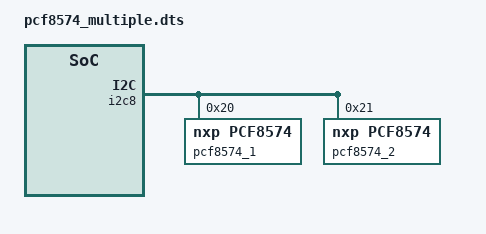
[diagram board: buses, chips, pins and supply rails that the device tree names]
/* SPDX-License-Identifier: MIT */

/* This example overlay describes two daisy-chained PCF8574 GPIO extender
 * connected to the ROCKPro64's I2C pins on its pin header.
 * Refer to pcf8574.dts for more information.
 */

/dts-v1/;
/plugin/;

&i2c8 {
	#address-cells = <1>;
	#size-cells = <0>;
	status = "okay";

	pcf8574_1: pcf8574@20 {			/* New child node with label "pcf8574_1", I2C address 0x20 */
		compatible = "nxp,pcf8574";	/* Identifier for kernel to know what driver to load */
		reg = <0x20>;			/* Describe the I2C address as being 0x20 */
		gpio-controller;
		#gpio-cells = <2>;
	};

	pcf8574_2: pcf8574@21 {			/* New child node with label "pcf8574_2", I2C address 0x21 */
		compatible = "nxp,pcf8574";	/* Identifier for kernel to know what driver to load */
		reg = <0x21>;			/* Describe the I2C address as being 0x21 */
		gpio-controller;
		#gpio-cells = <2>;
	};
};
